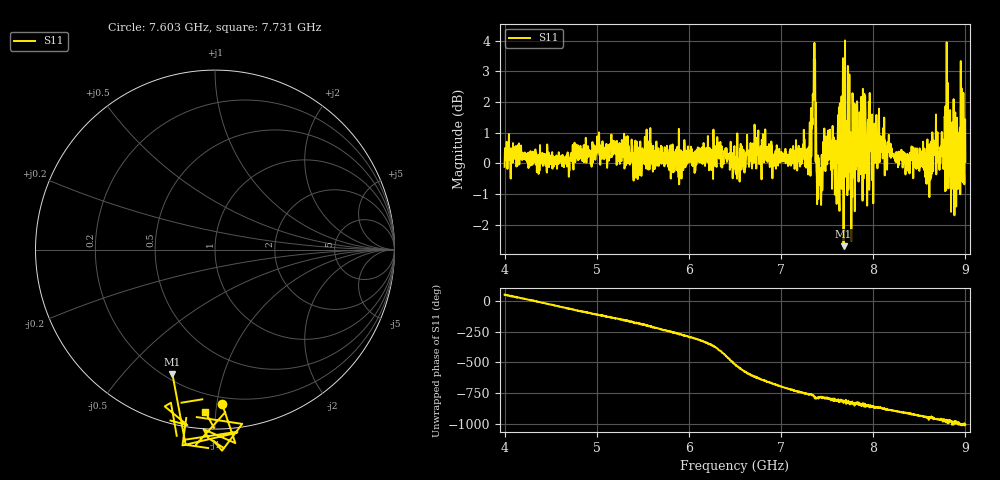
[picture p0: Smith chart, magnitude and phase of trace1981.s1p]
! Created with skrf 1.8.0 (http://scikit-rf.org).
# Hz S RI R 50.0
!freq ReS11 ImS11
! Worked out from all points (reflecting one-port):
!   1601 points, 4 GHz to 9 GHz, reference 50 ohm
!   lowest |S11| = -2.7 dB at 7.678 GHz (marker M1), VSWR 6.50, Z = 11.5 - j34.5 ohm
!   phase of S11 starts at 49 deg and turns -1054 deg over the sweep
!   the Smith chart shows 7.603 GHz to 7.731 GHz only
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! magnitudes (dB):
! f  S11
! 4 GHz  -0.1
! 4.625 GHz  -0.1
! 5.25 GHz  0.0
! 5.875 GHz  0.5
! 6.331 GHz  0.5
! 6.5 GHz  -0.1
! 6.731 GHz  -0.2
! 7.125 GHz  0.2
! 7.294 GHz  -0.4
! 7.347 GHz  2.1
! 7.362 GHz  3.9
! 7.412 GHz  -0.7
! 7.509 GHz  0.4
! 7.609 GHz  0.0
! 7.678 GHz  -2.7
! 7.75 GHz  0.7
! 7.784 GHz  -0.4
! 7.8 GHz  -1.6
! 7.928 GHz  0.2
! 8.375 GHz  -0.1
! 8.597 GHz  -0.6
! 8.656 GHz  0.7
! 8.725 GHz  0.4
! 8.8 GHz  0.9
! 8.841 GHz  1.0
! 8.919 GHz  -0.8
! 8.972 GHz  0.7
! 9 GHz  0.1
